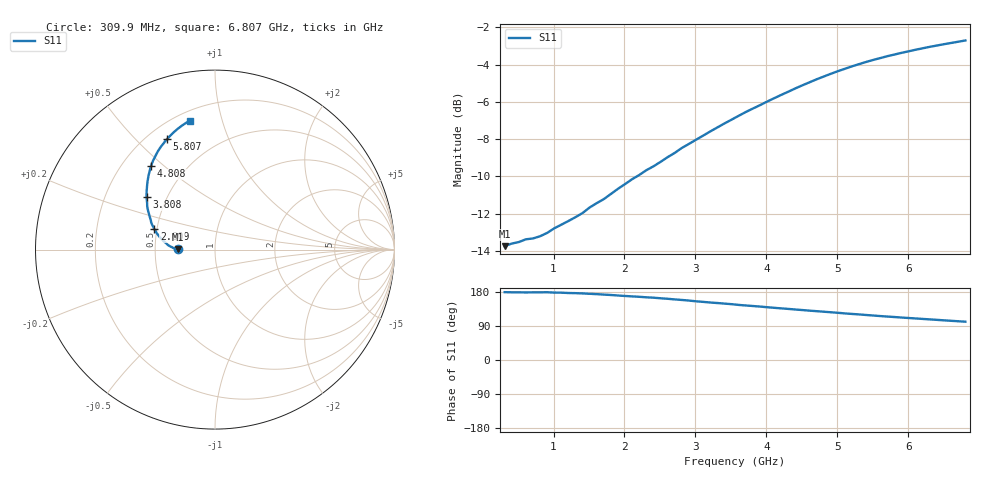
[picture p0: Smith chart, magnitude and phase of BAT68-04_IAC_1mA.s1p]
! Infineon Technologies  Discrete & RF Semiconductors
! BAT68-04
! IAC = 1 mA
! One-Port S-Parameters
# Hz  S  MA  R  50
!f  S11
!Hz  Mag  Ang
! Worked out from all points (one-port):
!   66 points, 309.9 MHz to 6.807 GHz, reference 50 ohm
!   lowest |S11| = -13.8 dB at 309.9 MHz (marker M1), VSWR 1.52, Z = 33 + j0.236 ohm
!   |S11| at or under -10 dB: start of sweep to 2.177 GHz
!   S11 on the Smith chart (normalised r, x): 309.9 MHz: 0.66, +0.00; 2.609 GHz: 0.48, +0.13; 3.808 GHz: 0.39, +0.29; 4.808 GHz: 0.32, +0.45; 5.807 GHz: 0.28, +0.62; 6.807 GHz: 0.25, +0.79
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3.0985e8  0.2052 179.0
6.097e8  0.2142 178.3
7.0965e8  0.2153 178.6
8.096e8  0.2182 178.6
9.0955e8  0.2228 178.7
1.0095e9  0.2292 177.9
1.2094e9  0.2398 176.7
1.4093e9  0.252 175.7
1.6092e9  0.2679 173.8
1.70915e9  0.2746 172.6
2.009e9  0.3014 169.0
2.4088e9  0.3363 164.4
2.6087e9  0.356 161.5
2.8086e9  0.3768 158.4
3.30835e9  0.4277 150.4
3.50825e9  0.4487 147.3
3.6082e9  0.4595 145.4
3.8081e9  0.4806 142.5
4.10795e9  0.5122 137.8
4.4078e9  0.5445 133.2
4.8076e9  0.5859 127.4
5.0075e9  0.6056 124.6
5.2074e9  0.6242 121.6
5.50725e9  0.6496 117.4
5.8071e9  0.6715 113.4
6.007e9  0.6851 110.8
6.30685e9  0.7045 107.1
6.8066e9  0.7326 101.1
